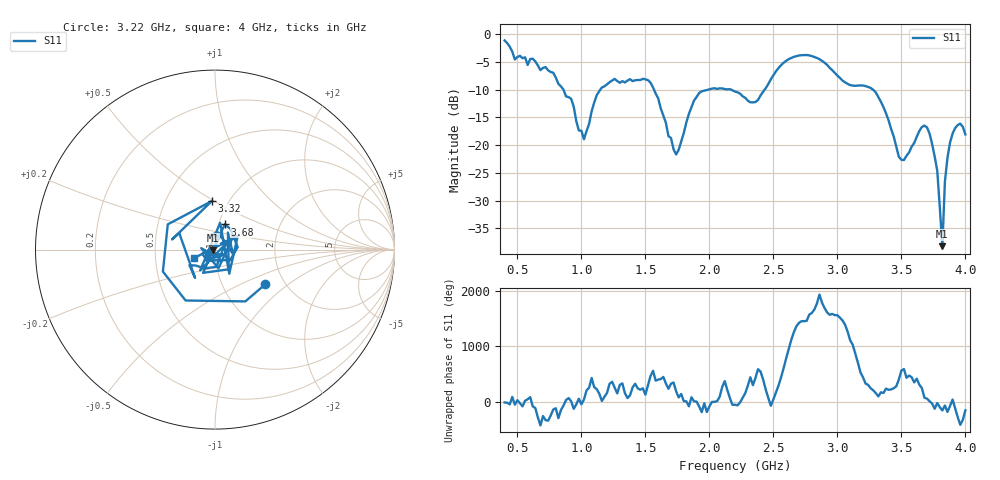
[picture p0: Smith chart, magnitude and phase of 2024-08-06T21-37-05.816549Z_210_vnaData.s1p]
!Created with skrf (http://scikit-rf.org).
# Hz S RI R 50.0
!freq ReS11 ImS11
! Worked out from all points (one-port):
!   181 points, 400 MHz to 4 GHz, reference 50 ohm
!   lowest |S11| = -38.2 dB at 3.82 GHz (marker M1), VSWR 1.02, Z = 48.9 - j0.398 ohm
!   |S11| at or under -10 dB: 859.9 MHz to 1.148 GHz (288 MHz wide, 28.7 % of centre); 1.567 GHz to 1.99 GHz (423.4 MHz wide, 23.8 % of centre); 3.278 GHz to end of sweep (the widest 3 of 4)
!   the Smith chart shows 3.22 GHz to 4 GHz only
!   S11 on the Smith chart (normalised r, x): 3.22 GHz: 1.59, -0.70; 3.32 GHz: 0.84, +0.49; 3.68 GHz: 1.07, +0.31; 4 GHz: 0.79, -0.07
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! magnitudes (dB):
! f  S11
! 400 MHz  -1.1
! 480 MHz  -4.6
! 620 MHz  -4.4
! 860 MHz  -10.0
! 1.02 GHz  -18.9
! 1.12 GHz  -11.0
! 1.3 GHz  -8.8
! 1.54 GHz  -8.7
! 1.72 GHz  -20.8
! 1.76 GHz  -20.8
! 1.92 GHz  -10.6
! 2.2 GHz  -10.3
! 2.36 GHz  -12.2
! 2.66 GHz  -4.1
! 2.86 GHz  -4.5
! 3.1 GHz  -9.2
! 3.22 GHz  -9.4
! 3.32 GHz  -11.3
! 3.48 GHz  -22.1
! 3.56 GHz  -21.3
! 3.68 GHz  -16.5
! 3.72 GHz  -17.9
! 3.78 GHz  -24.6
! 3.82 GHz  -38.2
! 3.84 GHz  -26.6
! 3.88 GHz  -19.5
! 3.96 GHz  -16.1
! 4 GHz  -18.1
